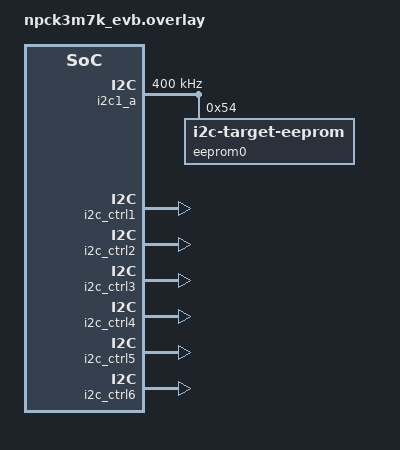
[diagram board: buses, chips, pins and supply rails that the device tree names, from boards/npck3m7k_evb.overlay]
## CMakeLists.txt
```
# SPDX-License-Identifier: Apache-2.0

cmake_minimum_required(VERSION 3.20.0)

find_package(Zephyr REQUIRED HINTS $ENV{ZEPHYR_BASE})
project(i2c_target_api)

FILE(GLOB app_sources src/*.c)

target_sources(app PRIVATE ${app_sources})
```

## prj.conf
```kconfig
CONFIG_LOG=y
CONFIG_I2C_LOG_LEVEL_INF=y
CONFIG_BOOT_BANNER=y
CONFIG_SHELL=y
CONFIG_I2C=y
CONFIG_I2C_TARGET=y
CONFIG_I2C_EEPROM_TARGET=y
```

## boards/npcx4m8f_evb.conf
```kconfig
# Add your own Kconfig option for npcx4m8f_evb here
```

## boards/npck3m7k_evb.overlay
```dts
/*
 * Copyright (c) 2023 Nuvoton Technology Corporation.
 *
 * SPDX-License-Identifier: Apache-2.0
 */

 / {
	aliases {
		/* For i2c test suites */
		i2c-0 = &i2c1_a;
		i2c-1 = &i2c1_b;
		i2c-2 = &i2c2_a;
		i2c-3 = &i2c2_b;
		i2c-4 = &i2c3_a;
		i2c-5 = &i2c3_b;
		i2c-6 = &i2c4_a;
		i2c-7 = &i2c4_b;
		i2c-8 = &i2c5_a;
		i2c-9 = &i2c6_a;
	};
};

&i2c1_a {
	status = "okay";
	pinctrl-0 = <&i2c1_a_sda_scl_gp22_17>;
	pinctrl-names = "default";
	clock-frequency = <I2C_BITRATE_FAST>;

	eeprom0: eeprom@54 {
		status = "okay";
		compatible = "zephyr,i2c-target-eeprom";
		reg = <0x54>;
		size = <1024>;
	};
};

&i2c1_b {
	status = "disabled";
	pinctrl-0 = <&i2c1_b_sda_scl_gp74_73>;
	pinctrl-names = "default";
	clock-frequency = <I2C_BITRATE_FAST>;

	eeprom1: eeprom@54 {
		status = "disabled";
		compatible = "zephyr,i2c-target-eeprom";
		reg = <0x54>;
		size = <1024>;
	};
};

&i2c2_a {
	status = "disabled";
	pinctrl-0 = <&i2c2_a_sda_scl_gp50_52>;
	pinctrl-names = "default";
	clock-frequency = <I2C_BITRATE_FAST>;

	eeprom2: eeprom@54 {
		status = "disabled";
		compatible = "zephyr,i2c-target-eeprom";
		reg = <0x54>;
		size = <1024>;
	};
};

&i2c2_b {
	status = "disabled";
	pinctrl-0 = <&i2c2_b_sda_scl_gpd5_d6>;
	pinctrl-names = "default";
	clock-frequency = <I2C_BITRATE_FAST>;

	eeprom3: eeprom@54 {
		status = "disabled";
		compatible = "zephyr,i2c-target-eeprom";
		reg = <0x54>;
		size = <1024>;
	};
};

&i2c3_a {
	status = "disabled";
	pinctrl-0 = <&i2c3_a_sda_scl_gp31_23>;
	pinctrl-names = "default";
	clock-frequency = <I2C_BITRATE_FAST>;

	eeprom4: eeprom@54 {
		status = "disabled";
		compatible = "zephyr,i2c-target-eeprom";
		reg = <0x54>;
		size = <1024>;
	};
};

&i2c3_b {
	status = "disabled";
	pinctrl-0 = <&i2c3_b_sda_scl_gpe1_e2>;
	pinctrl-names = "default";
	clock-frequency = <I2C_BITRATE_FAST>;

    eeprom5: eeprom@54 {
		status = "disabled";
		compatible = "zephyr,i2c-target-eeprom";
		reg = <0x54>;
		size = <1024>;
	};
};

&i2c4_a {
	status = "disabled";
	pinctrl-0 = <&i2c4_a_sda_scl_gp53_47>;
	pinctrl-names = "default";
	clock-frequency = <I2C_BITRATE_FAST>;

    eeprom6: eeprom@54 {
		status = "disabled";
		compatible = "zephyr,i2c-target-eeprom";
		reg = <0x54>;
		size = <1024>;
	};
};

&i2c4_b {
	status = "disabled";
	pinctrl-0 = <&i2c4_b_sda_scl_gp46_44>;
	pinctrl-names = "default";
	clock-frequency = <I2C_BITRATE_FAST>;

    eeprom7: eeprom@54 {
		status = "disabled";
		compatible = "zephyr,i2c-target-eeprom";
		reg = <0x54>;
		size = <1024>;
	};
};

&i2c5_a {
	status = "disabled";
	pinctrl-0 = <&i2c5_a_sda_scl_gpe3_e4>;
	pinctrl-names = "default";
	clock-frequency = <I2C_BITRATE_FAST>;

    eeprom8: eeprom@54 {
		status = "disabled";
		compatible = "zephyr,i2c-target-eeprom";
		reg = <0x54>;
		size = <1024>;
	};
};

&i2c6_a {
	status = "disabled";
	pinctrl-0 = <&i2c6_a_sda_scl_gpe6_25>;
	pinctrl-names = "default";
	clock-frequency = <I2C_BITRATE_FAST>;

    eeprom9: eeprom@54 {
		status = "disabled";
		compatible = "zephyr,i2c-target-eeprom";
		reg = <0x54>;
		size = <1024>;
	};
};

&i2c_ctrl1 {
	status = "okay";
};

&i2c_ctrl2 {
	status = "okay";
};

&i2c_ctrl3 {
	status = "okay";
};

&i2c_ctrl4 {
	status = "okay";
};

&i2c_ctrl5 {
	status = "okay";
};

&i2c_ctrl6 {
	status = "okay";
};
```

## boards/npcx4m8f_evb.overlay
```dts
/*
 * Copyright (c) 2023 Nuvoton Technology Corporation.
 *
 * SPDX-License-Identifier: Apache-2.0
 */

/ {
	chosen {
		zephyr,shell-uart = &uart1;
	};
};


/ {
	aliases {
		/* For i2c test suites */
		i2c-0 = &i2c0_0;
		i2c-1 = &i2c1_0;
		i2c-2 = &i2c2_0;
		i2c-3 = &i2c3_0;
		i2c-4 = &i2c4_0;
		i2c-5 = &i2c4_1;
		i2c-6 = &i2c5_0;
		i2c-7 = &i2c5_1;
		i2c-8 = &i2c6_0;
		i2c-9 = &i2c6_1;
		i2c-10 = &i2c7_0;
		i2c-11 = &i2c7_1;
	};
};

&i2c0_0 {
	status = "okay";
	pinctrl-0 = <&i2c0_0_sda_scl_gpb4_b5>;
	pinctrl-names = "default";
	clock-frequency = <I2C_BITRATE_FAST>;

	eeprom0: eeprom@54 {
		status = "okay";
		compatible = "zephyr,i2c-target-eeprom";
		reg = <0x54>;
		size = <1024>;
	};
};

&i2c1_0 {
	status = "disabled";
	pinctrl-0 = <&i2c1_0_sda_scl_gp87_90>;
	pinctrl-names = "default";
	clock-frequency = <I2C_BITRATE_FAST>;

	eeprom1: eeprom@54 {
		status = "disabled";
		compatible = "zephyr,i2c-target-eeprom";
		reg = <0x54>;
		size = <1024>;
	};
};

&i2c2_0 {
	status = "disabled";
	pinctrl-0 = <&i2c2_0_sda_scl_gp91_92>;
	pinctrl-names = "default";
	clock-frequency = <I2C_BITRATE_FAST>;

	eeprom2: eeprom@54 {
		status = "disabled";
		compatible = "zephyr,i2c-target-eeprom";
		reg = <0x54>;
		size = <1024>;
	};
};

&i2c3_0 {
	status = "disabled";
	pinctrl-0 = <&i2c3_0_sda_scl_gpd0_d1>;
	pinctrl-names = "default";
	clock-frequency = <I2C_BITRATE_FAST>;

	eeprom3: eeprom@54 {
		status = "disabled";
		compatible = "zephyr,i2c-target-eeprom";
		reg = <0x54>;
		size = <1024>;
	};
};

&i2c4_0 {
	status = "disabled";
	pinctrl-0 = <&i2c4_0_sda_scl_gp75_86>;
	pinctrl-names = "default";
	clock-frequency = <I2C_BITRATE_FAST>;

	eeprom4: eeprom@54 {
		status = "disabled";
		compatible = "zephyr,i2c-target-eeprom";
		reg = <0x54>;
		size = <1024>;
	};
};

&i2c4_1 {
	status = "disabled";
	pinctrl-0 = <&i2c4_1_sda_scl_gpf2_f3>;
	pinctrl-names = "default";
	clock-frequency = <I2C_BITRATE_FAST>;

	eeprom5: eeprom@54 {
		status = "disabled";
		compatible = "zephyr,i2c-target-eeprom";
		reg = <0x54>;
		size = <1024>;
	};
};

&i2c5_0 {
	status = "disabled";
	pinctrl-0 = <&i2c5_0_sda_scl_gp33_36>;
	pinctrl-names = "default";
	clock-frequency = <I2C_BITRATE_FAST>;

	eeprom6: eeprom@54 {
		status = "disabled";
		compatible = "zephyr,i2c-target-eeprom";
		reg = <0x54>;
		size = <1024>;
	};
};

&i2c5_1 {
	status = "disabled";
	pinctrl-0 = <&i2c5_1_sda_scl_gpf4_f5
	&vhif_lpc_sl>;
	pinctrl-names = "default";
	clock-frequency = <I2C_BITRATE_FAST>;

	eeprom7: eeprom@54 {
		status = "disabled";
		compatible = "zephyr,i2c-target-eeprom";
		reg = <0x54>;
		size = <1024>;
	};
};

&i2c6_0 {
	status = "disabled";
	pinctrl-0 = <&i2c6_0_sda_scl_gpc1_c2>;
	pinctrl-names = "default";
	clock-frequency = <I2C_BITRATE_FAST>;

	eeprom8: eeprom@54 {
		status = "disabled";
		compatible = "zephyr,i2c-target-eeprom";
		reg = <0x54>;
		size = <1024>;
	};
};

&i2c6_1 {
	status = "disabled";
	pinctrl-0 = <&i2c6_1_sda_scl_gpe3_e4>;
	pinctrl-names = "default";
	clock-frequency = <I2C_BITRATE_FAST>;

	eeprom9: eeprom@54 {
		status = "disabled";
		compatible = "zephyr,i2c-target-eeprom";
		reg = <0x54>;
		size = <1024>;
	};
};

&i2c7_0 {
	status = "disabled";
	pinctrl-0 = <&i2c7_0_sda_scl_gpb2_b3>;
	pinctrl-names = "default";
	clock-frequency = <I2C_BITRATE_FAST>;

	eeprom10: eeprom@54 {
		status = "disabled";
		compatible = "zephyr,i2c-target-eeprom";
		reg = <0x54>;
		size = <1024>;
	};
};

&i2c7_1 {
	status = "disabled";
	pinctrl-0 = <&i2c7_1_sda_scl_gpb7_c0>;
	pinctrl-names = "default";
	clock-frequency = <I2C_BITRATE_FAST>;

	eeprom11: eeprom@54 {
		status = "disabled";
		compatible = "zephyr,i2c-target-eeprom";
		reg = <0x54>;
		size = <1024>;
	};
};

&i2c_ctrl1 {
	status = "okay";
};

&i2c_ctrl2 {
	status = "okay";
};

&i2c_ctrl3 {
	status = "okay";
};

&i2c_ctrl4 {
	status = "okay";
};

&i2c_ctrl5 {
	status = "okay";
};

&i2c_ctrl6 {
	status = "okay";
};

&i2c_ctrl7 {
	status = "okay";
};
```

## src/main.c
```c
/*
 * Copyright (c) 2017 BayLibre, SAS
 * Copyright (c) 2020 Nordic Semiconductor ASA
 *
 * SPDX-License-Identifier: Apache-2.0
 */

#include <errno.h>
#include <string.h>

#include <zephyr/kernel.h>
#include <zephyr/device.h>
#include <stdio.h>
#include <zephyr/sys/util.h>

#include <zephyr/drivers/i2c.h>
#include <zephyr/drivers/i2c/target/eeprom.h>

#include <zephyr/shell/shell.h>
#include <zephyr/shell/shell_uart.h>
#include <stdlib.h>

#define LOG_LEVEL LOG_LEVEL_INF
#include <zephyr/logging/log.h>
LOG_MODULE_REGISTER(main);

#if DT_NODE_HAS_STATUS(DT_ALIAS(i2c_0), okay)
#define NODE_EP0 DT_NODELABEL(eeprom0)
#elif DT_NODE_HAS_STATUS(DT_ALIAS(i2c_1), okay)
#define NODE_EP0 DT_NODELABEL(eeprom1)
#elif DT_NODE_HAS_STATUS(DT_ALIAS(i2c_2), okay)
#define NODE_EP0 DT_NODELABEL(eeprom2)
#elif DT_NODE_HAS_STATUS(DT_ALIAS(i2c_3), okay)
#define NODE_EP0 DT_NODELABEL(eeprom3)
#elif DT_NODE_HAS_STATUS(DT_ALIAS(i2c_4), okay)
#define NODE_EP0 DT_NODELABEL(eeprom4)
#elif DT_NODE_HAS_STATUS(DT_ALIAS(i2c_5), okay)
#define NODE_EP0 DT_NODELABEL(eeprom5)
#elif DT_NODE_HAS_STATUS(DT_ALIAS(i2c_6), okay)
#define NODE_EP0 DT_NODELABEL(eeprom6)
#elif DT_NODE_HAS_STATUS(DT_ALIAS(i2c_7), okay)
#define NODE_EP0 DT_NODELABEL(eeprom7)
#elif DT_NODE_HAS_STATUS(DT_ALIAS(i2c_8), okay)
#define NODE_EP0 DT_NODELABEL(eeprom8)
#elif DT_NODE_HAS_STATUS(DT_ALIAS(i2c_9), okay)
#define NODE_EP0 DT_NODELABEL(eeprom9)
#elif DT_NODE_HAS_STATUS(DT_ALIAS(i2c_10), okay)
#define NODE_EP0 DT_NODELABEL(eeprom10)
#elif DT_NODE_HAS_STATUS(DT_ALIAS(i2c_11), okay)
#define NODE_EP0 DT_NODELABEL(eeprom11)
#else
#error "Please set the correct SMB device"
#endif

#define TEST_DATA_SIZE	20
static const uint8_t eeprom_0_data[TEST_DATA_SIZE] = "0123456789abcdefghij";

/* Commands used for validation */
enum {
	SMB_CMD0,
	SMB_CMD1,
	SMB_CMD_COUNT,
};

/* Objects used for validation */
static struct {
	int cmd;
	struct k_sem sem_sync;

	/* command args */
	struct {
		uint32_t val;
	} cmd1_args;

	struct {
		uint32_t val;
		uint32_t status;
	} cmd2_args;

} test_objs;


static void smb_thread_entry(void)
{

	const struct device *const eeprom_0 = DEVICE_DT_GET(NODE_EP0);
	const struct device *const i2c_0 = DEVICE_DT_GET(DT_BUS(NODE_EP0));
	int addr_0 = DT_REG_ADDR(NODE_EP0);
	int ret;


	if (!i2c_0) {
		LOG_ERR("EEPROM 0 - I2C bus not found");
		return;
	}

	if (!eeprom_0) {
		LOG_ERR("EEPROM 0 - device not found");
		return;
	}

	if (!device_is_ready(i2c_0)) {
		LOG_ERR("device %s not ready", i2c_0->name);
		return;
}
	LOG_INF("device %s is ready", i2c_0->name);

	LOG_INF("Found EEPROM 0 on I2C bus device %s at addr %02x\n",
		 i2c_0->name, addr_0);


		/* Program differentiable data into the two devices through a back door
		* that doesn't use I2C.
		*/
		ret = eeprom_target_program(eeprom_0, eeprom_0_data, TEST_DATA_SIZE);
	if(ret) {
		LOG_ERR("Failed to program EEPROM 0");
		}

	/* Init semaphore first */
	k_sem_init(&test_objs.sem_sync, 0, 1);

	while (true) {
		/* Task wait event here */
		k_sem_take(&test_objs.sem_sync, K_FOREVER);

		switch (test_objs.cmd) {
		case SMB_CMD0:
			LOG_INF("Handle CMD0");
			break;

		case SMB_CMD1:
			LOG_INF("Handle CMD1 with %d", test_objs.cmd1_args.val);
			if (test_objs.cmd1_args.val == 1) {

		/* Attach each EEPROM to its owning bus as a target device. */
		ret = i2c_target_driver_register(eeprom_0);
				if(ret) {
					LOG_ERR("Failed to register EEPROM 0");
		}
				LOG_INF("[GO]\r\n");
		}

			if (test_objs.cmd1_args.val == 2) {

				/* Detach EEPROM */
				ret = i2c_target_driver_unregister(eeprom_0);
				if(ret) {
					LOG_ERR("Failed to unregister EEPROM 0");
			}
				LOG_INF("[GO]\r\n");
		}
			break;

		default:
			break;
		}
			}
		}


/* Test thread declaration */
#define STACK_SIZE	1024
#define THREAD_PRIORITY 1
K_THREAD_DEFINE(smb_id, STACK_SIZE, smb_thread_entry, NULL, NULL, NULL, THREAD_PRIORITY, 0, -1);

int main(void)
{
	k_thread_name_set(smb_id, "smb_testing");
	k_thread_start(smb_id);

	return 0;
}


static int smb_command0(const struct shell *shell, size_t argc, char **argv)
{
	test_objs.cmd = SMB_CMD0;

	/* Send event to task and wake it up */
	k_sem_give(&test_objs.sem_sync);

	return 0;
}

static int smb_command1(const struct shell *shell, size_t argc, char **argv)
{
	test_objs.cmd = SMB_CMD1;

	char *eptr;
	unsigned long val;

	/* Convert integer from string */
	val = strtoul(argv[1], &eptr, 0);
	if (*eptr != '\0') {
		shell_error(shell, "Invalid argument, '%s' is not an integer", argv[1]);
		return -EINVAL;
		}

	if (val >= 100) {
		shell_error(shell, "val %s out of range", argv[1]);
		return -EINVAL;
	}

	test_objs.cmd1_args.val = val;
	/* Send event to task and wake it up */
	k_sem_give(&test_objs.sem_sync);

	return 0;
}

SHELL_STATIC_SUBCMD_SET_CREATE(sub_smb,
			       SHELL_CMD_ARG(cmd0, NULL, "smb cmd0", smb_command0, 1, 0),
			       SHELL_CMD_ARG(cmd1, NULL, "smb cmd1 <val_1>", smb_command1, 2, 0),
			       SHELL_SUBCMD_SET_END /* Array terminated. */
);
SHELL_CMD_REGISTER(smb, &sub_smb, "smb validation commands", NULL);
```
